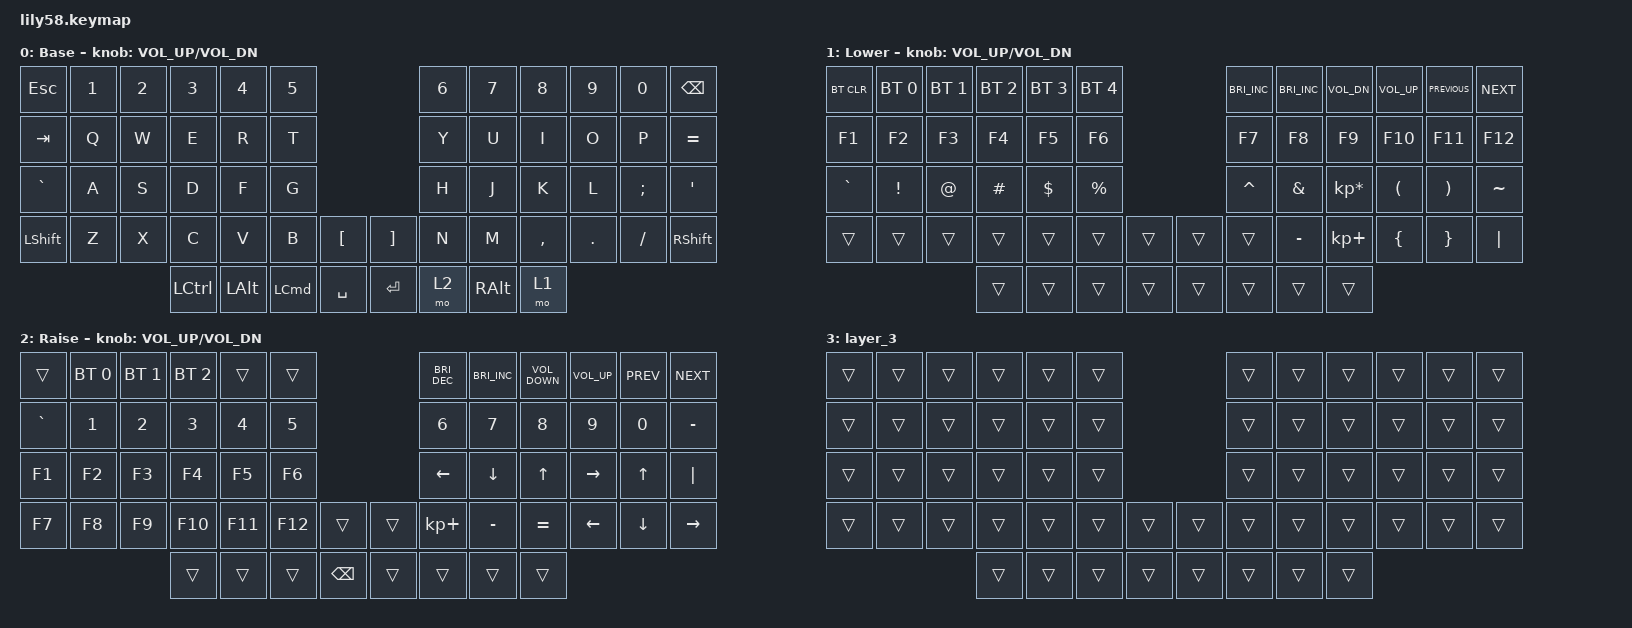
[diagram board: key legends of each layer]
/*
 * Copyright (c) 2020 The ZMK Contributors
 *
 * SPDX-License-Identifier: MIT
 */

#include <behaviors.dtsi>
#include <dt-bindings/zmk/bt.h>
#include <dt-bindings/zmk/keys.h>

/ {
    keymap {
        compatible = "zmk,keymap";

        default_layer {
            // ------------------------------------------------------------------------------------------------------------
            // |  ESC  |  1  |  2  |  3   |  4   |  5   |                   |  6   |  7    |  8    |  9   |   0   |   `   |
            // |  TAB  |  Q  |  W  |  E   |  R   |  T   |                   |  Y   |  U    |  I    |  O   |   P   |   -   |
            // |  CTRL |  A  |  S  |  D   |  F   |  G   |                   |  H   |  J    |  K    |  L   |   ;   |   '   |
            // | SHIFT |  Z  |  X  |  C   |  V   |  B   |   "["  |  |  "]"  |  N   |  M    |  ,    |  .   |   /   | SHIFT |
            //                     | ALT  | GUI  | LOWER|  SPACE |  | ENTER | RAISE| BSPC  | GUI   |

            display-name = "Base";
            bindings = <
&kp ESC    &kp N1  &kp N2  &kp N3            &kp N4        &kp N5                                   &kp N6  &kp N7         &kp N8     &kp N9   &kp N0    &kp BACKSPACE
&kp TAB    &kp Q   &kp W   &kp E             &kp R         &kp T                                    &kp Y   &kp U          &kp I      &kp O    &kp P     &kp EQUAL
&kp GRAVE  &kp A   &kp S   &kp D             &kp F         &kp G                                    &kp H   &kp J          &kp K      &kp L    &kp SEMI  &kp SQT
&kp LSHFT  &kp Z   &kp X   &kp C             &kp V         &kp B             &kp LBKT     &kp RBKT  &kp N   &kp M          &kp COMMA  &kp DOT  &kp FSLH  &kp RSHFT
                           &kp LEFT_CONTROL  &kp LEFT_ALT  &kp LEFT_COMMAND  &kp SPACE    &kp RET   &mo 2   &kp RIGHT_ALT  &mo 1
            >;

            sensor-bindings = <&inc_dec_kp C_VOL_UP C_VOL_DN>;
        };

        lower_layer {
            // ------------------------------------------------------------------------------------------------------------
            // | BTCLR | BT1 | BT2 |  BT3 |  BT4 |  BT5 |                   |      |       |       |      |       |       |
            // |  F1   |  F2 |  F3 |  F4  |  F5  |  F6  |                   |  F7  |  F8   |  F9   |  F10 |  F11  |  F12  |
            // |   `   |  !  |  @  |  #   |  $   |  %   |                   |  ^   |  &    |  *    |  (   |   )   |   ~   |
            // |       |     |     |      |      |      |        |  |       |      |  _    |  +    |  {   |   }   |  "|"  |
            //                     |      |      |      |        |  |       |      |       |       |

            display-name = "Lower";
            bindings = <
&bt BT_CLR  &bt BT_SEL 0  &bt BT_SEL 1  &bt BT_SEL 2  &bt BT_SEL 3  &bt BT_SEL 4                    &kp C_BRIGHTNESS_INC  &kp C_BRIGHTNESS_INC  &kp C_VOL_DN     &kp C_VOL_UP  &kp K_PREVIOUS  &kp K_NEXT
&kp F1      &kp F2        &kp F3        &kp F4        &kp F5        &kp F6                          &kp F7                &kp F8                &kp F9           &kp F10       &kp F11         &kp F12
&kp GRAVE   &kp EXCL      &kp AT        &kp HASH      &kp DOLLAR    &kp PRCNT                       &kp CARET             &kp AMPS              &kp KP_MULTIPLY  &kp LPAR      &kp RPAR        &kp TILDE
&trans      &trans        &trans        &trans        &trans        &trans        &trans    &trans  &trans                &kp MINUS             &kp KP_PLUS      &kp LBRC      &kp RBRC        &kp PIPE
                                        &trans        &trans        &trans        &trans    &trans  &trans                &trans                &trans
            >;

            sensor-bindings = <&inc_dec_kp C_VOL_UP C_VOL_DN>;
        };

        raise_layer {
            // ------------------------------------------------------------------------------------------------------------
            // |       |     |     |      |      |      |                   |      |       |       |      |       |       |
            // |   `   |  1  |  2  |  3   |  4   |  5   |                   |  6   |   7   |   8   |  9   |   0   |       |
            // |   F1  |  F2 |  F3 |  F4  |  F5  |  F6  |                   |      |   <-  |   v   |  ^   |  ->   |       |
            // |   F7  |  F8 |  F9 |  F10 |  F11 |  F12 |        |  |       |  +   |   -   |   =   |  [   |   ]   |   \   |
            //                     |      |      |      |        |  |       |      |       |       |

            display-name = "Raise";
            bindings = <
&trans     &bt BT_SEL 0  &bt BT_SEL 1  &bt BT_SEL 2  &trans   &trans                            &kp C_BRIGHTNESS_DEC  &kp C_BRIGHTNESS_INC  &kp C_VOLUME_DOWN  &kp C_VOLUME_UP  &kp C_PREV    &kp C_NEXT
&kp GRAVE  &kp N1        &kp N2        &kp N3        &kp N4   &kp N5                            &kp N6                &kp N7                &kp N8             &kp N9           &kp N0        &kp MINUS
&kp F1     &kp F2        &kp F3        &kp F4        &kp F5   &kp F6                            &kp LEFT_ARROW        &kp DOWN              &kp UP_ARROW       &kp RIGHT        &kp UP_ARROW  &kp PIPE
&kp F7     &kp F8        &kp F9        &kp F10       &kp F11  &kp F12  &trans           &trans  &kp KP_PLUS           &kp MINUS             &kp EQUAL          &kp LEFT         &kp DOWN      &kp RIGHT
                                       &trans        &trans   &trans   &kp BACKSPACE    &trans  &trans                &trans                &trans
            >;

            sensor-bindings = <&inc_dec_kp C_VOL_UP C_VOL_DN>;
        };

        layer_3 {
            bindings = <
&trans  &trans  &trans  &trans  &trans  &trans                    &trans  &trans  &trans  &trans  &trans  &trans
&trans  &trans  &trans  &trans  &trans  &trans                    &trans  &trans  &trans  &trans  &trans  &trans
&trans  &trans  &trans  &trans  &trans  &trans                    &trans  &trans  &trans  &trans  &trans  &trans
&trans  &trans  &trans  &trans  &trans  &trans  &trans    &trans  &trans  &trans  &trans  &trans  &trans  &trans
                        &trans  &trans  &trans  &trans    &trans  &trans  &trans  &trans
            >;
        };
    };
};
